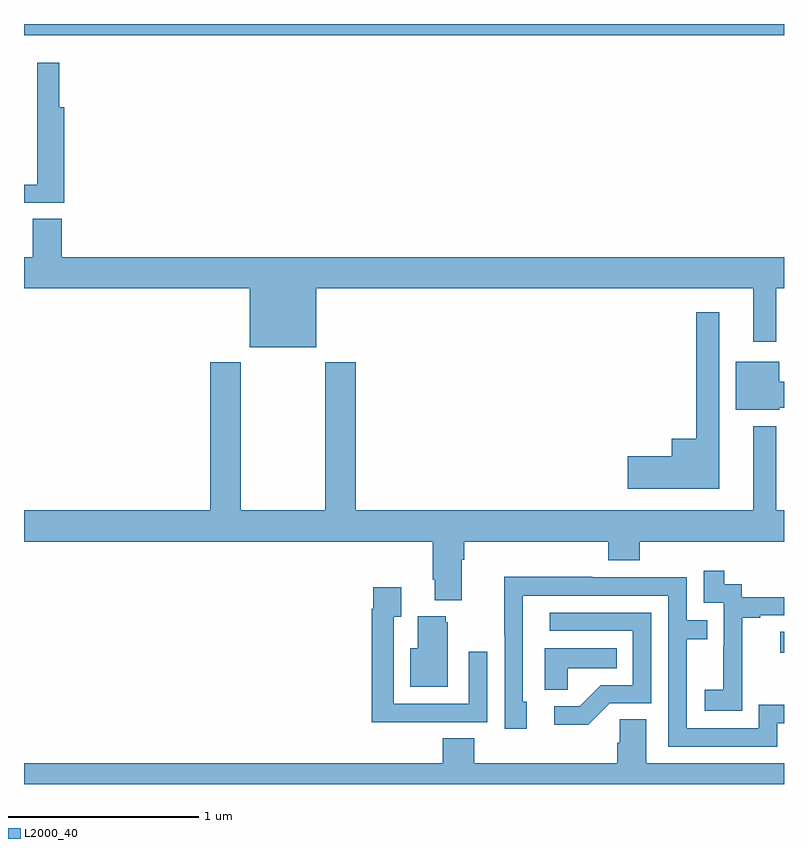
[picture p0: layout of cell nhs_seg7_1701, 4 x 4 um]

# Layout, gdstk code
import gdstk
lib = gdstk.Library(unit=1e-6, precision=1e-09)
def R(c, l, rs):  # rectangles x0, y0, x1, y1
    for r in rs: c.add(gdstk.rectangle(r[:2], r[2:], *l))
def P(c, l, *ps):  # polygons
    for p in ps: c.add(gdstk.Polygon(p, *l))
L2000_40 = (2000, 40)

nhs_seg7_1701 = lib.new_cell('nhs_seg7_1701')
R(nhs_seg7_1701, L2000_40, [(230.979,1006.691,231,1006.801), (227,1009.94,231,1010)])
P(nhs_seg7_1701, L2000_40, [(227.213,1009.561),(227.186,1009.561),(227.186,1009.795),(227.07,1009.795),(227.07,1009.457),(227.069,1009.457),(227.069,1009.155),(227,1009.155),(227,1009.059),(227.213,1009.059)],
  [(228.538,1008.608),(230.837,1008.608),(230.837,1008.327),(230.959,1008.327),(230.959,1008.608),(231,1008.608),(231,1008.772),(227.198,1008.772),(227.198,1008.974),(227.045,1008.974),(227.045,1008.772),(227,1008.772),(227,1008.608),(228.188,1008.608),(228.188,1008.299),(228.538,1008.299)],
  [(230.659,1008.484),(230.538,1008.484),(230.538,1007.818),(230.408,1007.818),(230.408,1007.726),(230.178,1007.726),(230.178,1007.555),(230.659,1007.555)],
  [(230.974,1007.98),(231,1007.98),(231,1008.116),(230.974,1008.116),(230.974,1008.223),(230.747,1008.223),(230.747,1007.969),(230.974,1007.969)],
  [(229.303,1007.18),(229.316,1007.18),(229.316,1007.276),(230.075,1007.276),(230.075,1007.177),(230.24,1007.177),(230.24,1007.276),(231,1007.276),(231,1007.44),(230.959,1007.44),(230.959,1007.884),(230.837,1007.884),(230.837,1007.44),(228.746,1007.44),(228.746,1008.22),(228.586,1008.22),(228.586,1007.44),(228.141,1007.44),(228.141,1008.22),(227.981,1008.22),(227.981,1007.44),(227,1007.44),(227,1007.276),(229.151,1007.276),(229.151,1007.074),(229.163,1007.074),(229.163,1006.967),(229.303,1006.967)],
  [(230.781,1006.591),(230.78,1006.591),(230.78,1006.875),(230.875,1006.875),(230.875,1006.887),(231,1006.887),(231,1006.983),(230.778,1006.983),(230.778,1007.052),(230.686,1007.052),(230.686,1007.122),(230.577,1007.122),(230.577,1006.953),(230.682,1006.953),(230.682,1006.724),(230.681,1006.724),(230.681,1006.495),(230.583,1006.495),(230.583,1006.385),(230.781,1006.385)],
  [(230.965,1006.32),(231,1006.32),(231,1006.416),(230.868,1006.416),(230.868,1006.293),(230.487,1006.293),(230.487,1006.762),(230.597,1006.762),(230.597,1006.863),(230.487,1006.863),(230.487,1007.088),(229.991,1007.088),(229.991,1007.09),(229.528,1007.09),(229.528,1006.783),(229.53,1006.783),(229.53,1006.29),(229.645,1006.29),(229.645,1006.434),(229.626,1006.434),(229.626,1006.992),(230.391,1006.992),(230.391,1006.197),(230.965,1006.197)],
  [(229.121,1006.326),(229.437,1006.326),(229.437,1006.696),(229.341,1006.696),(229.341,1006.422),(228.945,1006.422),(228.945,1006.879),(228.985,1006.879),(228.985,1007.035),(228.837,1007.035),(228.837,1006.922),(228.829,1006.922),(228.829,1006.325),(229.121,1006.325)],
  [(230.082,1006.425),(230.301,1006.425),(230.301,1006.902),(229.767,1006.902),(229.767,1006.806),(230.205,1006.806),(230.205,1006.521),(230.036,1006.521),(229.925,1006.41),(229.791,1006.41),(229.791,1006.313),(229.969,1006.313)],
  [(229.231,1006.851),(229.22,1006.851),(229.22,1006.882),(229.073,1006.882),(229.073,1006.714),(229.034,1006.714),(229.034,1006.511),(229.231,1006.511)],
  [(229.863,1006.61),(230.12,1006.61),(230.12,1006.714),(229.742,1006.714),(229.742,1006.495),(229.863,1006.495)],
  [(231,1006.108),(230.275,1006.108),(230.275,1006.34),(230.136,1006.34),(230.136,1006.217),(230.123,1006.217),(230.123,1006.108),(229.37,1006.108),(229.37,1006.241),(229.205,1006.241),(229.205,1006.108),(227,1006.108),(227,1006),(231,1006)])

lib.write_gds('nhs_seg7_1701.gds')
